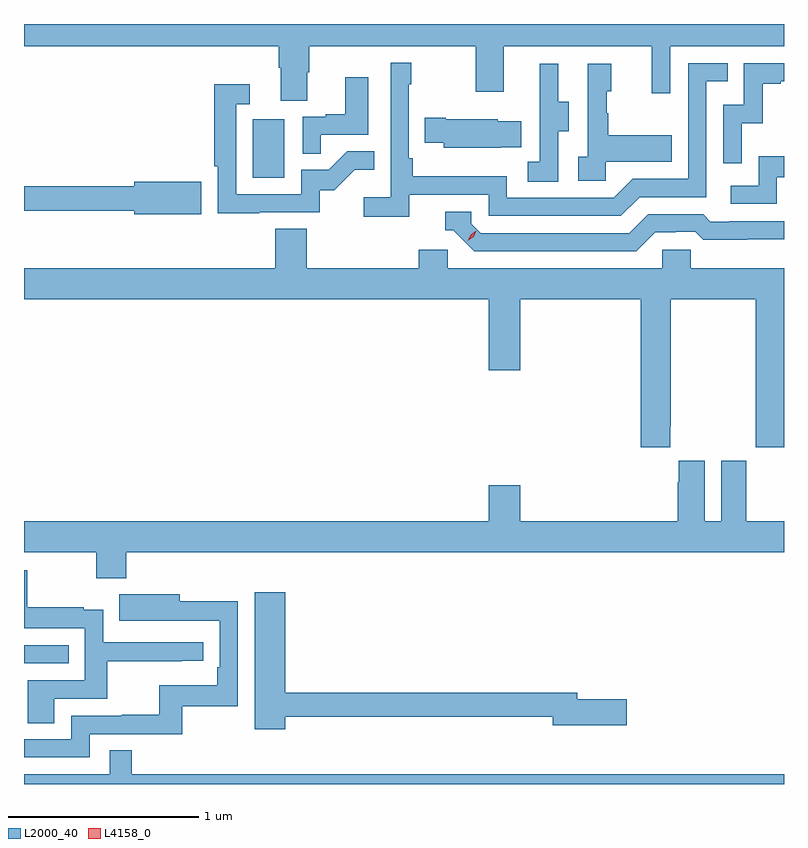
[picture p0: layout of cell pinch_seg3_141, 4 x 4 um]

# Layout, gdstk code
import gdstk
lib = gdstk.Library(unit=1e-6, precision=1e-09)
def R(c, l, rs):  # rectangles x0, y0, x1, y1
    for r in rs: c.add(gdstk.rectangle(r[:2], r[2:], *l))
def P(c, l, *ps):  # polygons
    for p in ps: c.add(gdstk.Polygon(p, *l))
L2000_40 = (2000, 40)
L4158_0 = (4158, 0)

pinch_seg3_141 = lib.new_cell('pinch_seg3_141')
R(pinch_seg3_141, L2000_40, [(1133.589,717.648,1133.825,717.744), (1134.794,720.204,1134.958,720.511)])
P(pinch_seg3_141, L2000_40, [(1135.081,720.759),(1135.089,720.759),(1135.089,720.896),(1135.966,720.896),(1135.966,720.657),(1136.113,720.657),(1136.113,720.896),(1136.894,720.896),(1136.894,720.648),(1136.991,720.648),(1136.991,720.896),(1137.589,720.896),(1137.589,721.013),(1133.589,721.013),(1133.589,720.896),(1134.929,720.896),(1134.929,720.784),(1134.941,720.784),(1134.941,720.61),(1135.081,720.61)],
  [(1135.616,720.114),(1136.034,720.114),(1136.034,720.003),(1136.731,720.003),(1136.83,720.102),(1137.18,720.102),(1137.18,720.711),(1137.293,720.711),(1137.293,720.807),(1137.084,720.807),(1137.084,720.198),(1136.793,720.198),(1136.694,720.099),(1136.13,720.099),(1136.13,720.211),(1135.634,720.211),(1135.634,720.307),(1135.614,720.307),(1135.614,720.695),(1135.627,720.695),(1135.627,720.808),(1135.518,720.808),(1135.518,720.1),(1135.377,720.1),(1135.377,719.998),(1135.616,719.998)],
  [(1137.366,720.491),(1137.476,720.491),(1137.476,720.699),(1137.571,720.699),(1137.571,720.711),(1137.589,720.711),(1137.589,720.807),(1137.378,720.807),(1137.378,720.588),(1137.27,720.588),(1137.27,720.279),(1137.366,720.279)],
  [(1136.4,720.448),(1136.455,720.448),(1136.455,720.603),(1136.401,720.603),(1136.401,720.805),(1136.303,720.805),(1136.303,720.591),(1136.304,720.591),(1136.304,720.287),(1136.241,720.287),(1136.241,720.184),(1136.4,720.184)],
  [(1136.652,720.287),(1136.999,720.287),(1136.999,720.427),(1136.665,720.427),(1136.665,720.542),(1136.655,720.542),(1136.655,720.66),(1136.68,720.66),(1136.68,720.805),(1136.556,720.805),(1136.556,720.314),(1136.505,720.314),(1136.505,720.189),(1136.652,720.189)],
  [(1135.151,720.429),(1135.402,720.429),(1135.402,720.733),(1135.28,720.733),(1135.28,720.538),(1135.177,720.538),(1135.177,720.525),(1135.056,720.525),(1135.056,720.331),(1135.151,720.331)],
  [(1134.827,720.021),(1135.146,720.021),(1135.146,720.138),(1135.222,720.138),(1135.329,720.245),(1135.433,720.245),(1135.433,720.344),(1135.29,720.344),(1135.192,720.246),(1135.047,720.246),(1135.047,720.117),(1134.705,720.117),(1134.705,720.591),(1134.778,720.591),(1134.778,720.697),(1134.589,720.697),(1134.589,720.265),(1134.609,720.265),(1134.609,720.016),(1134.827,720.016)],
  [(1136.099,720.365),(1136.207,720.365),(1136.207,720.502),(1136.082,720.502),(1136.082,720.511),(1135.81,720.511),(1135.81,720.519),(1135.699,720.519),(1135.699,720.389),(1135.797,720.389),(1135.797,720.362),(1136.099,720.362)],
  [(1137.552,720.207),(1137.589,720.207),(1137.589,720.316),(1137.456,720.316),(1137.456,720.162),(1137.309,720.162),(1137.309,720.066),(1137.552,720.066)],
  [(1134.523,720.182),(1134.17,720.182),(1134.17,720.158),(1133.589,720.158),(1133.589,720.03),(1134.17,720.03),(1134.17,720.011),(1134.523,720.011)],
  [(1136.911,719.916),(1137.018,719.916),(1137.018,719.919),(1137.121,719.919),(1137.163,719.877),(1137.396,719.877),(1137.396,719.879),(1137.589,719.879),(1137.589,719.976),(1137.301,719.976),(1137.301,719.973),(1137.202,719.973),(1137.163,720.012),(1136.874,720.012),(1136.775,719.913),(1135.992,719.913),(1135.944,719.961),(1135.944,720.024),(1135.805,720.024),(1135.805,719.928),(1135.848,719.928),(1135.959,719.817),(1136.812,719.817)],
  [(1136.989,718.897),(1136.994,718.897),(1136.994,719.564),(1137.439,719.564),(1137.439,718.785),(1137.589,718.785),(1137.589,719.728),(1137.099,719.728),(1137.099,719.826),(1136.949,719.826),(1136.949,719.728),(1135.818,719.728),(1135.818,719.826),(1135.667,719.826),(1135.667,719.728),(1135.076,719.728),(1135.076,719.936),(1134.911,719.936),(1134.911,719.728),(1133.589,719.728),(1133.589,719.564),(1136.036,719.564),(1136.036,719.19),(1136.2,719.19),(1136.2,719.564),(1136.834,719.564),(1136.834,718.785),(1136.989,718.785)],
  [(1134.128,718.232),(1137.589,718.232),(1137.589,718.396),(1137.391,718.396),(1137.391,718.714),(1137.26,718.714),(1137.26,718.396),(1137.172,718.396),(1137.172,718.714),(1137.035,718.714),(1137.035,718.601),(1137.029,718.601),(1137.029,718.396),(1136.2,718.396),(1136.2,718.585),(1136.036,718.585),(1136.036,718.396),(1133.589,718.396),(1133.589,718.232),(1133.968,718.232),(1133.968,718.097),(1134.128,718.097)],
  [(1133.749,717.462),(1134.026,717.462),(1134.026,717.658),(1134.419,717.658),(1134.419,717.663),(1134.532,717.663),(1134.532,717.759),(1134.006,717.759),(1134.006,717.931),(1133.903,717.931),(1133.903,717.943),(1133.605,717.943),(1133.605,718.137),(1133.589,718.137),(1133.589,717.834),(1133.91,717.834),(1133.91,717.558),(1133.609,717.558),(1133.609,717.334),(1133.749,717.334)],
  [(1134.964,717.366),(1136.372,717.366),(1136.372,717.323),(1136.761,717.323),(1136.761,717.458),(1136.5,717.458),(1136.5,717.494),(1134.964,717.494),(1134.964,718.021),(1134.803,718.021),(1134.803,717.3),(1134.964,717.3)],
  [(1133.934,717.276),(1134.421,717.276),(1134.421,717.423),(1134.714,717.423),(1134.714,717.974),(1134.409,717.974),(1134.409,718.012),(1134.091,718.012),(1134.091,717.872),(1134.305,717.872),(1134.305,717.873),(1134.618,717.873),(1134.618,717.628),(1134.605,717.628),(1134.605,717.532),(1134.3,717.532),(1134.3,717.377),(1134.103,717.377),(1134.103,717.372),(1133.838,717.372),(1133.838,717.249),(1133.589,717.249),(1133.589,717.153),(1133.934,717.153)],
  [(1137.589,717.064),(1134.155,717.064),(1134.155,717.191),(1134.039,717.191),(1134.039,717.064),(1133.589,717.064),(1133.589,717.013),(1137.589,717.013)])
P(pinch_seg3_141, L4158_0, [(1135.924,719.872),(1135.924,719.873),(1135.94,719.905),(1135.97,719.925),(1135.97,719.925),(1135.97,719.925),(1135.955,719.892),(1135.924,719.872)])

lib.write_gds('pinch_seg3_141.gds')
